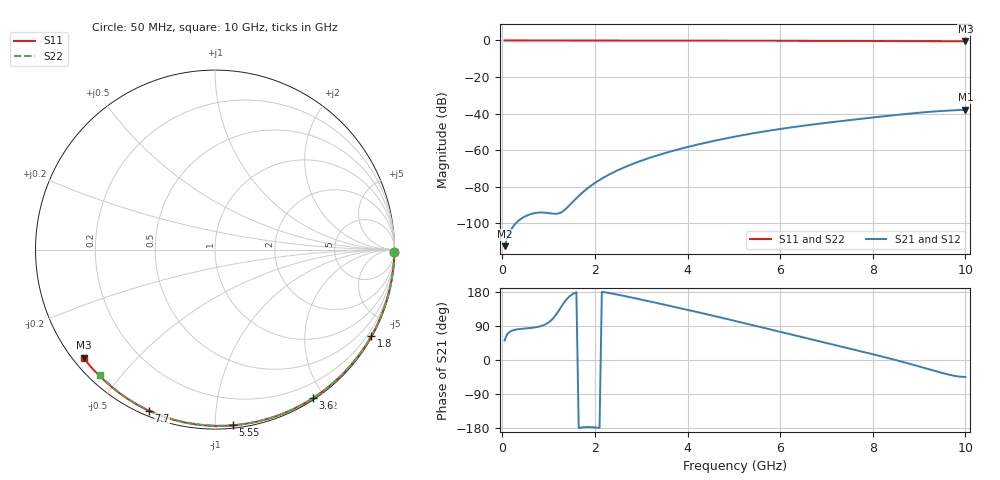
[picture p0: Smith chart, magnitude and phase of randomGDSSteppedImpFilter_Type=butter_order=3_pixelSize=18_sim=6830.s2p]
! freq	dB(S11)	phase(S11)	dB(S12)	phase(S12)
!  dB(S21)	phase(S21)	dB(S22)	phase(S22)
!S-par simulation data
#  GHz  S  DB  R 50
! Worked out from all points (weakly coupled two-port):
!   200 points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, 50 MHz to 10 GHz, reference 50 ohm
!   highest |S21| = -37.88 dB at 10 GHz (marker M1); lowest = -112.6 dB at 50 MHz (marker M2)
!   lowest |S11| = -0.5 dB at 10 GHz (marker M3), VSWR 36.57, Z = 1.54 - j17.9 ohm
!   |S11| at or under -10 dB: nowhere
!   |S22| runs from -0.4 to 0.0 dB; largest |S21 - S12| = 0
!   S11 on the Smith chart (normalised r, x): 50 MHz: open; 1.8 GHz: 0.03, -3.87; 3.6 GHz: 0.02, -1.86; 5.55 GHz: 0.02, -1.11; 7.7 GHz: 0.02, -0.67; 10 GHz: 0.03, -0.36
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0.05  -0.00 -0.8  -112.58 51.5  -112.58 51.5  -0.01 -0.8
0.45  -0.01 -7.3  -96.88 82.7  -96.88 82.7  -0.01 -6.9
0.9  -0.02 -14.6  -94.19 92.3  -94.19 92.3  -0.02 -13.7
1.75  -0.04 -28.2  -82.81 -177.5  -82.81 -177.5  -0.03 -26.4
1.8  -0.04 -29.0  -81.75 -177.0  -81.75 -177.0  -0.03 -27.2
1.9  -0.04 -30.5  -79.78 -177.0  -79.78 -177.0  -0.04 -28.6
2.05  -0.04 -32.9  -77.16 -178.5  -77.16 -178.5  -0.04 -30.9
2.25  -0.05 -36.0  -74.15 178.0  -74.15 178.0  -0.04 -33.8
2.45  -0.05 -39.1  -71.55 173.5  -71.55 173.5  -0.05 -36.7
2.65  -0.06 -42.2  -69.25 168.6  -69.25 168.6  -0.05 -39.6
3  -0.06 -47.5  -65.82 159.4  -65.82 159.4  -0.06 -44.6
3.4  -0.07 -53.5  -62.50 148.7  -62.50 148.7  -0.07 -50.3
3.6  -0.08 -56.5  -61.01 143.3  -61.01 143.3  -0.07 -53.1
4.3  -0.09 -66.7  -56.49 124.0  -56.49 124.0  -0.09 -62.8
5.05  -0.12 -77.2  -52.50 102.4  -52.50 102.4  -0.11 -72.8
5.55  -0.14 -84.1  -50.24 87.7  -50.24 87.7  -0.13 -79.3
6.1  -0.16 -91.5  -48.07 71.3  -48.07 71.3  -0.15 -86.3
6.7  -0.19 -99.5  -46.01 53.5  -46.01 53.5  -0.18 -93.8
7.7  -0.26 -112.3  -43.01 24.2  -43.01 24.2  -0.24 -105.9
8.35  -0.32 -120.3  -41.20 4.5  -41.20 4.5  -0.29 -113.5
9.2  -0.40 -130.5  -39.11 -23.9  -39.11 -23.9  -0.36 -123.3
10  -0.48 -140.5  -37.88 -44.7  -37.88 -44.7  -0.44 -132.4
